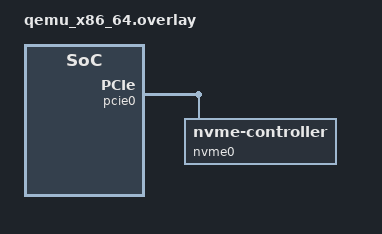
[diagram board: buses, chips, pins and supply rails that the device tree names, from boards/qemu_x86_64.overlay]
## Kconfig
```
# SPDX-License-Identifier: Apache-2.0
# Copyright 2022 NXP

mainmenu "Disk driver performance test"

config MAIN_STACK_SIZE
	default 1280 if (MMC_STACK && IMX_USDHC)

source "Kconfig.zephyr"
```

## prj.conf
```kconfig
CONFIG_TEST=y
CONFIG_ZTEST=y
CONFIG_DISK_ACCESS=y
CONFIG_TIMING_FUNCTIONS=y
CONFIG_TEST_RANDOM_GENERATOR=y
```

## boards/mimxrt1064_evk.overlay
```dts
/*
 * Copyright (c) 2022, NXP
 *
 * SPDX-License-Identifier: Apache-2.0
 */

/* Disable GPT timer and use systick for better timer accuracy
 */
&systick {
	status = "okay";
};

&gpt_hw_timer {
	status = "disabled";
};
```

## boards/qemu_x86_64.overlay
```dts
/* SPDX-License-Identifier: Apache-2.0 */

#include <zephyr/dt-bindings/pcie/pcie.h>

/ {
	pcie0 {
		nvme0: nvme0 {
			compatible = "nvme-controller";

			vendor-id = <0x1B36>;
			device-id = <0x0010>;

			status = "okay";
		};
	};
};
```

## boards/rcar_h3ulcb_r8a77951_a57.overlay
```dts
/* SPDX-License-Identifier: Apache-2.0 */

&emmc2 {
	disk {
		status = "okay";
	};
	status = "okay";
};
```

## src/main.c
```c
/*
 * Copyright (c) 2021 NXP
 *
 * SPDX-License-Identifier: Apache-2.0
 */


#include <zephyr/kernel.h>
#include <zephyr/ztest.h>
#include <zephyr/storage/disk_access.h>
#include <zephyr/device.h>
#include <zephyr/timing/timing.h>
#include <zephyr/random/random.h>

#if defined(CONFIG_DISK_DRIVER_SDMMC)
#define DISK_NAME CONFIG_SDMMC_VOLUME_NAME
#elif defined(CONFIG_DISK_DRIVER_MMC)
#define DISK_NAME CONFIG_MMC_VOLUME_NAME
#elif defined(CONFIG_NVME)
#define DISK_NAME "nvme0n0"
#else
#error "No disk device defined, is your board supported?"
#endif

/* Assume the largest sector we will encounter is 512 bytes */
#define SECTOR_SIZE 512
#if CONFIG_SRAM_SIZE >= 512
/* Cap buffer size at 128 KiB */
#define SEQ_BLOCK_COUNT 256
#elif CONFIG_SOC_POSIX
/* Posix does not define SRAM size */
#define SEQ_BLOCK_COUNT 256
#else
/* Two buffers with 512 byte blocks will use half of all SRAM */
#define SEQ_BLOCK_COUNT (CONFIG_SRAM_SIZE / 2)
#endif
#define BUF_SIZE (SECTOR_SIZE * SEQ_BLOCK_COUNT)
/* Number of sequential reads to get an average speed */
#define SEQ_ITERATIONS 10
/* Number of random reads to get an IOPS calculation */
#define RANDOM_ITERATIONS SEQ_BLOCK_COUNT

static uint32_t chosen_sectors[RANDOM_ITERATIONS];


static const char *disk_pdrv = DISK_NAME;
static uint32_t disk_sector_count;
static uint32_t disk_sector_size;

static uint8_t test_buf[BUF_SIZE] __aligned(32);
static uint8_t backup_buf[BUF_SIZE] __aligned(32);

static bool disk_init_done;

/* Sets up test by initializing disk */
static void test_setup(void)
{
	int rc;
	uint32_t cmd_buf;

	rc = disk_access_init(disk_pdrv);
	zassert_equal(rc, 0, "Disk access initialization failed");

	rc = disk_access_status(disk_pdrv);
	zassert_equal(rc, DISK_STATUS_OK, "Disk status is not OK");

	rc = disk_access_ioctl(disk_pdrv, DISK_IOCTL_GET_SECTOR_COUNT, &cmd_buf);
	zassert_equal(rc, 0, "Disk ioctl get sector count failed");

	TC_PRINT("Disk reports %u sectors\n", cmd_buf);
	disk_sector_count = cmd_buf;

	rc = disk_access_ioctl(disk_pdrv, DISK_IOCTL_GET_SECTOR_SIZE, &cmd_buf);
	zassert_equal(rc, 0, "Disk ioctl get sector size failed");
	TC_PRINT("Disk reports sector size %u\n", cmd_buf);
	disk_sector_size = cmd_buf;

	/* Assume sector size is 512 bytes, it will speed up calculations later */
	zassert_true(cmd_buf == SECTOR_SIZE,
		"Test will fail, SECTOR_SIZE definition must be changed");

	disk_init_done = true;
}

/* Helper function to time multiple sequential reads. Returns average time. */
static uint64_t read_helper(uint32_t num_blocks)
{
	int rc;
	timing_t start_time, end_time;
	uint64_t cycles, total_ns;

	/* Start the timing system */
	timing_init();
	timing_start();

	total_ns = 0;
	for (int i = 0; i < SEQ_ITERATIONS; i++) {
		start_time = timing_counter_get();

		/* Read from start of disk */
		rc = disk_access_read(disk_pdrv, test_buf, 0, num_blocks);

		end_time = timing_counter_get();

		zassert_equal(rc, 0, "disk read failed");

		cycles = timing_cycles_get(&start_time, &end_time);
		total_ns += timing_cycles_to_ns(cycles);
	}
	/* Stop timing system */
	timing_stop();
	/* Return average time */
	return (total_ns / SEQ_ITERATIONS);
}

ZTEST(disk_performance, test_sequential_read)
{
	uint64_t time_ns;

	if (!disk_init_done) {
		zassert_unreachable("Disk is not initialized");
	}

	/* Start with single sector read */
	time_ns = read_helper(1);

	TC_PRINT("Average read speed over one sector: %"PRIu64" KiB/s\n",
		((SECTOR_SIZE * (NSEC_PER_SEC / time_ns))) / 1024);

	/* Now time long sequential read */
	time_ns = read_helper(SEQ_BLOCK_COUNT);

	TC_PRINT("Average read speed over %d sectors: %"PRIu64" KiB/s\n",
		SEQ_BLOCK_COUNT,
		((BUF_SIZE) * (NSEC_PER_SEC / time_ns)) / 1024);
}

/* Helper function to time multiple sequential writes. Returns average time. */
static uint64_t write_helper(uint32_t num_blocks)
{
	int rc;
	timing_t start_time, end_time;
	uint64_t cycles, total_ns;

	/* Start the timing system */
	timing_init();
	timing_start();

	/* Read block we will overwrite, to back it up. */
	rc = disk_access_read(disk_pdrv, backup_buf, 0, num_blocks);
	zassert_equal(rc, 0, "disk read failed");

	/* Initialize write buffer with data */
	sys_rand_get(test_buf, num_blocks * SECTOR_SIZE);

	total_ns = 0;
	for (int i = 0; i < SEQ_ITERATIONS; i++) {
		start_time = timing_counter_get();

		rc = disk_access_write(disk_pdrv, test_buf, 0, num_blocks);

		end_time = timing_counter_get();

		zassert_equal(rc, 0, "disk write failed");

		cycles = timing_cycles_get(&start_time, &end_time);
		total_ns += timing_cycles_to_ns(cycles);
	}
	/* Stop timing system */
	timing_stop();

	/* Replace block with backup */
	rc = disk_access_write(disk_pdrv, backup_buf, 0, num_blocks);
	zassert_equal(rc, 0, "disk write failed");
	/* Return average time */
	return (total_ns / SEQ_ITERATIONS);
}

ZTEST(disk_performance, test_sequential_write)
{
	uint64_t time_ns;

	if (!disk_init_done) {
		zassert_unreachable("Disk is not initialized");
	}

	/* Start with single sector write */
	time_ns = write_helper(1);

	TC_PRINT("Average write speed over one sector: %"PRIu64" KiB/s\n",
		((SECTOR_SIZE * (NSEC_PER_SEC / time_ns))) / 1024);

	/* Now time long sequential write */
	time_ns = write_helper(SEQ_BLOCK_COUNT);

	TC_PRINT("Average write speed over %d sectors: %"PRIu64" KiB/s\n",
		SEQ_BLOCK_COUNT,
		((BUF_SIZE) * (NSEC_PER_SEC / time_ns)) / 1024);
}

ZTEST(disk_performance, test_random_read)
{
	timing_t start_time, end_time;
	uint64_t cycles, total_ns;
	uint32_t sector;
	int rc;

	if (!disk_init_done) {
		zassert_unreachable("Disk is not initialized");
	}

	/* Build list of sectors to read from. */
	for (int i = 0; i < RANDOM_ITERATIONS; i++) {
		/* Get random num until we select a value within sector count */
		sector = sys_rand32_get() / ((UINT32_MAX / disk_sector_count) + 1);
		chosen_sectors[i] = sector;
	}

	/* Start the timing system */
	timing_init();
	timing_start();

	start_time = timing_counter_get();
	for (int i = 0; i < RANDOM_ITERATIONS; i++) {
		/*
		 * Note: we don't check return code here,
		 * we want to do I/O as fast as possible
		 */
		rc = disk_access_read(disk_pdrv, test_buf, chosen_sectors[i], 1);
	}
	end_time = timing_counter_get();
	zassert_equal(rc, 0, "Random read failed");
	cycles = timing_cycles_get(&start_time, &end_time);
	total_ns = timing_cycles_to_ns(cycles);
	/* Stop timing system */
	timing_stop();

	TC_PRINT("512 Byte IOPS over %d random reads: %"PRIu64" IOPS\n",
		RANDOM_ITERATIONS,
		((uint64_t)(((uint64_t)RANDOM_ITERATIONS)*
		((uint64_t)NSEC_PER_SEC)))
		/ total_ns);
}

ZTEST(disk_performance, test_random_write)
{
	timing_t start_time, end_time;
	uint64_t cycles, total_ns;
	uint32_t sector;
	int rc;

	if (!disk_init_done) {
		zassert_unreachable("Disk is not initialized");
	}

	/* Build list of sectors to read from. */
	for (int i = 0; i < RANDOM_ITERATIONS; i++) {
		/* Get random num until we select a value within sector count */
		sector = sys_rand32_get() / ((UINT32_MAX / disk_sector_count) + 1);
		chosen_sectors[i] = sector;
		/* Backup this sector */
		rc = disk_access_read(disk_pdrv, &backup_buf[i * SECTOR_SIZE],
			sector, 1);
		zassert_equal(rc, 0, "disk read failed for random write backup");
	}

	/* Initialize write buffer with data */
	sys_rand_get(test_buf, BUF_SIZE);

	/* Start the timing system */
	timing_init();
	timing_start();

	start_time = timing_counter_get();
	for (int i = 0; i < RANDOM_ITERATIONS; i++) {
		/*
		 * Note: we don't check return code here,
		 * we want to do I/O as fast as possible
		 */
		rc = disk_access_write(disk_pdrv, &test_buf[i * SECTOR_SIZE],
			chosen_sectors[i], 1);
	}
	end_time = timing_counter_get();
	zassert_equal(rc, 0, "Random write failed");
	cycles = timing_cycles_get(&start_time, &end_time);
	total_ns = timing_cycles_to_ns(cycles);
	/* Stop timing system */
	timing_stop();

	TC_PRINT("512 Byte IOPS over %d random writes: %"PRIu64" IOPS\n",
		RANDOM_ITERATIONS,
		((uint64_t)(((uint64_t)RANDOM_ITERATIONS)*
		((uint64_t)NSEC_PER_SEC)))
		/ total_ns);
	/* Restore backed up sectors */
	for (int i = 0; i < RANDOM_ITERATIONS; i++) {
		disk_access_write(disk_pdrv, &backup_buf[i * SECTOR_SIZE],
			chosen_sectors[i], 1);
		zassert_equal(rc, 0, "failed to write backup sector to disk");
	}
}

static void *disk_setup(void)
{
	test_setup();

	return NULL;
}

ZTEST_SUITE(disk_performance, NULL, disk_setup, NULL, NULL, NULL);
```
